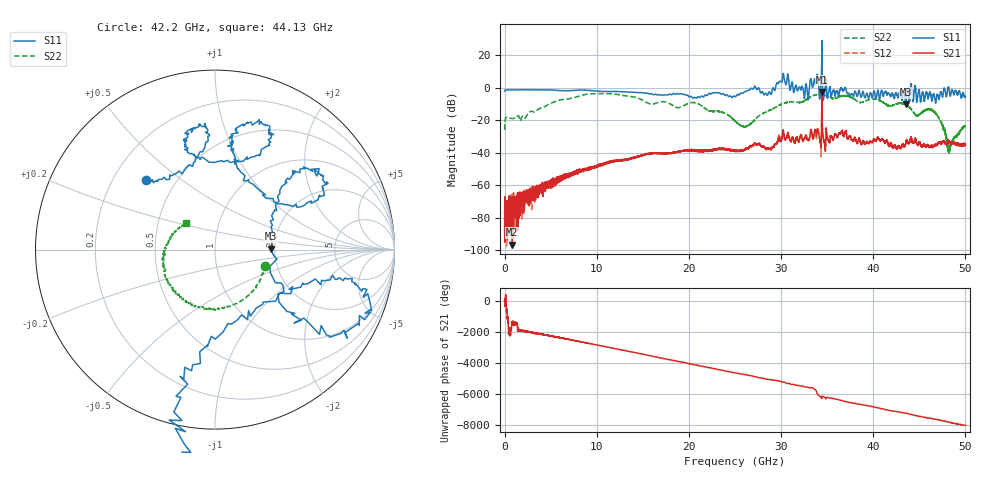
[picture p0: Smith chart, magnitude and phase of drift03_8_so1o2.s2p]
!Created with skrf (http://scikit-rf.org).
# Hz S RI R 50.0
!freq ReS11 ImS11 ReS21 ImS21 ReS12 ImS12 ReS22 ImS22
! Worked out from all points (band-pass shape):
!   10000 points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, 5.3 MHz to 50 GHz, reference 50 ohm
!   highest |S21| = -2.63 dB at 34.43 GHz (marker M1); lowest = -96.3 dB at 845.3 MHz (marker M2)
!   |S21| within 3 dB of the highest: 34.42749 GHz to 34.434 GHz (6.513 MHz wide, 0.0189 % of centre)
!   lowest |S11| = -10.2 dB at 43.53 GHz (marker M3), VSWR 1.90, Z = 94.9 + j0.998 ohm
!   |S11| at or under -10 dB: 43.51394 GHz to 43.51789 GHz (3.947 MHz wide, 0.00907 % of centre); 43.52551 GHz to 43.53213 GHz (6.611 MHz wide, 0.0152 % of centre)
!   |S22| runs from -40.3 to -3.6 dB; largest |S21 - S12| = 0.22
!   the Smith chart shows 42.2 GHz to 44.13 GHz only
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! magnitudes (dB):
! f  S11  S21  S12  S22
! 5.3 MHz  -2.1  -90.5  -78.2  -26.0
! 845.3 MHz  -1.4  -96.3  -72.2  -19.0
! 8.34 GHz  -1.5  -50.4  -50.9  -4.7
! 16.67 GHz  -4.4  -40.4  -40.2  -9.1
! 20.72 GHz  -6.2  -38.2  -38.9  -9.3
! 25.01 GHz  -5.5  -38.7  -39.0  -20.5
! 26.24 GHz  -2.2  -37.4  -37.4  -23.8
! 27.37 GHz  -1.2  -34.9  -34.9  -18.5
! 28.72 GHz  -2.5  -37.6  -37.6  -14.0
! 30.14 GHz  4.3  -29.3  -29.7  -10.0
! 32.74 GHz  2.1  -29.4  -29.0  -7.3
! 33.34 GHz  2.5  -27.4  -27.6  -5.3
! 33.82 GHz  3.9  -29.1  -29.4  -4.3
! 34.43 GHz  29.0  -2.6  -4.5  -4.0
! 36.48 GHz  -0.6  -28.0  -28.0  -5.4
! 41.67 GHz  -3.4  -35.5  -35.7  -11.1
! 43.53 GHz  -10.2  -34.2  -34.2  -10.3
! 44.73 GHz  -9.0  -34.2  -34.4  -17.1
! 46.64 GHz  -5.2  -35.4  -35.5  -15.0
! 47.52 GHz  -5.9  -33.2  -33.4  -23.6
! 48.25 GHz  -1.6  -33.8  -33.0  -37.0
! 50 GHz  -5.4  -35.0  -34.8  -23.1
